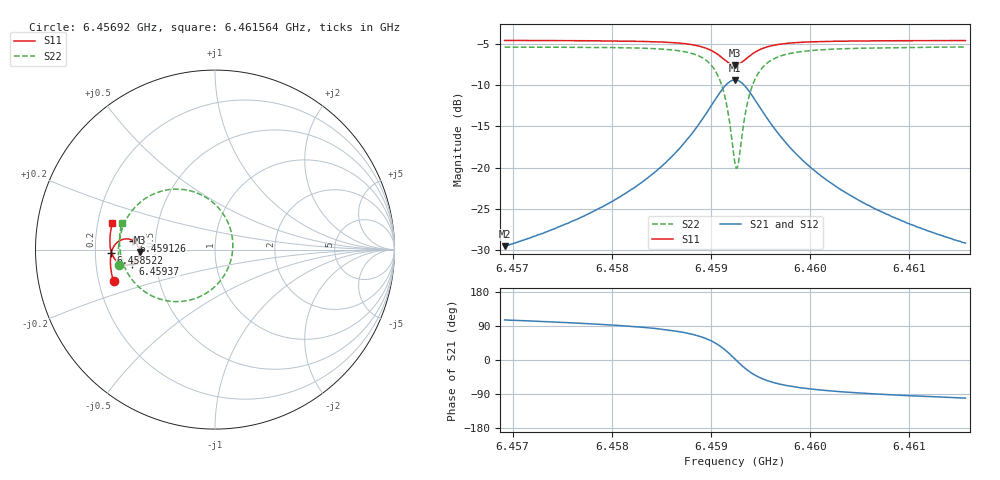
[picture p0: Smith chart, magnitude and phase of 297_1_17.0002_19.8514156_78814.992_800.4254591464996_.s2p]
#  HZ  S  RI  R  50.00
! Rohde & Schwarz Vector Network Analyzer
! Rohde-Schwarz,ZNB20-2Port,1311601062101988,3.16
! Created: UTC 3/20/2024, 11:05:20 PM
! freq[Hz]  re:S11  im:S11  re:S21  im:S21  re:S12  im:S12  re:S22  im:S22
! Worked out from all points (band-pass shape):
!   401 points, 6.45692 GHz to 6.461564 GHz, reference 50 ohm
!   highest |S21| = -9.35 dB at 6.459242 GHz (marker M1); lowest = -29.6 dB at 6.45692 GHz (marker M2)
!   |S21| within 3 dB of the highest: 6.459009 GHz to 6.459474 GHz (465 kHz wide, 0.0072 % of centre)
!   lowest |S11| = -7.5 dB at 6.459242 GHz (marker M3), VSWR 2.44, Z = 20.5 - j0.626 ohm
!   |S11| at or under -10 dB: nowhere
!   |S22| runs from -20.1 to -5.3 dB; largest |S21 - S12| = 0.013
!   S11 on the Smith chart (normalised r, x): 6.45692 GHz: 0.26, -0.14; 6.458522 GHz: 0.27, -0.01; 6.459126 GHz: 0.37, +0.05; 6.45937 GHz: 0.37, -0.07; 6.461564 GHz: 0.26, +0.12
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6.45692e9  -0.5651 -0.1769  -0.00905 0.032  -0.00728 0.032  -0.5321 -0.087
6.4576979e9  -0.5799 -0.1092  -0.00585 0.0497  -0.0034 0.0492  -0.5377 0.00278
6.4581042e9  -0.583 -0.0689  -0.000495 0.0676  0.00268 0.0663  -0.5309 0.0656
6.4584758e9  -0.5797 -0.0249  0.0136 0.0976  0.0175 0.0948  -0.5053 0.1468
6.4585222e9  -0.5783 -0.0186  0.0169 0.103  0.021 0.0999  -0.499 0.1598
6.4587312e9  -0.5661 0.0133  0.0427 0.1345  0.0468 0.1296  -0.4509 0.2304
6.4588821e9  -0.5452 0.0397  0.0849 0.1644  0.0882 0.1579  -0.3735 0.2937
6.4590331e9  -0.4993 0.0596  0.1756 0.1833  0.1766 0.1759  -0.2084 0.337
6.459126e9  -0.4551 0.0496  0.2644 0.1526  0.2647 0.1467  -0.045 0.2874
6.4591724e9  -0.434 0.0311  0.3076 0.1103  0.3088 0.105  0.0361 0.2123
6.4592421e9  -0.4192 -0.0126  0.3406 0.0148  0.3439 0.00774  0.0993 0.0359
6.4592537e9  -0.4196 -0.0206  0.3404 -0.00285  0.344 -0.0104  0.0988 0.00302
6.4592769e9  -0.423 -0.0362  0.335 -0.0369  0.3386 -0.046  0.088 -0.0613
6.4593349e9  -0.4435 -0.0669  0.2975 -0.1081  0.2987 -0.1203  0.012 -0.1939
6.4593698e9  -0.4602 -0.0781  0.2655 -0.1366  0.2645 -0.1495  -0.052 -0.2449
6.4594627e9  -0.5032 -0.085  0.182 -0.1676  0.176 -0.1787  -0.2173 -0.2899
6.4596136e9  -0.5468 -0.0648  0.0952 -0.1541  0.0871 -0.1602  -0.3814 -0.2413
6.4597761e9  -0.5682 -0.0372  0.051 -0.1268  0.0436 -0.1295  -0.4601 -0.1703
6.46002e9  -0.5811 -0.00165  0.0222 -0.0956  0.0166 -0.0963  -0.5071 -0.0893
6.460345e9  -0.5855 0.037  0.00697 -0.0708  0.00293 -0.0703  -0.5274 -0.0154
6.4607979e9  -0.5838 0.0825  -0.00138 -0.0512  -0.00421 -0.0503  -0.5319 0.0567
6.4615641e9  -0.5717 0.1501  -0.00638 -0.0341  -0.00813 -0.0332  -0.5204 0.1461
